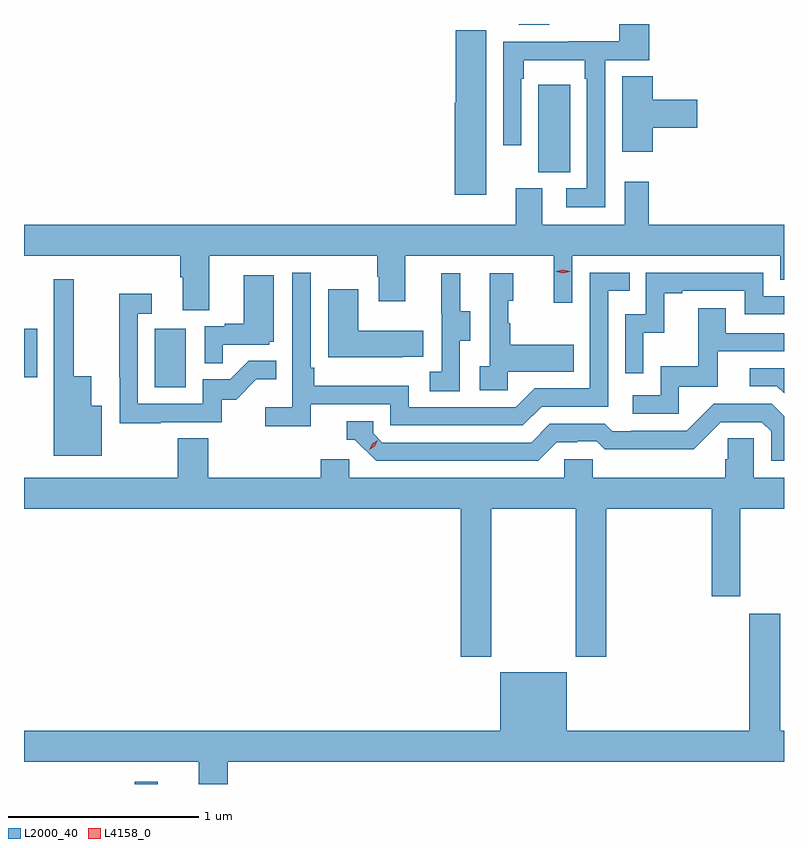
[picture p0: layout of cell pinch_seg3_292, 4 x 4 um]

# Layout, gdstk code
import gdstk
lib = gdstk.Library(unit=1e-6, precision=1e-09)
def R(c, l, rs):  # rectangles x0, y0, x1, y1
    for r in rs: c.add(gdstk.rectangle(r[:2], r[2:], *l))
def P(c, l, *ps):  # polygons
    for p in ps: c.add(gdstk.Polygon(p, *l))
L2000_40 = (2000, 40)
L4158_0 = (4158, 0)

pinch_seg3_292 = lib.new_cell('pinch_seg3_292')
R(pinch_seg3_292, L2000_40, [(1012.367,723.444,1012.489,723.457), (1012.472,725.532,1012.636,725.839), (1011.784,725.585,1011.853,725.839), (1014.491,726.665,1014.658,727.123), (1014.389,727.439,1014.549,727.444)])
P(pinch_seg3_292, L2000_40, [(1014.843,727.254),(1015.076,727.254),(1015.076,727.444),(1014.916,727.444),(1014.916,727.352),(1014.65,727.352),(1014.65,727.35),(1014.306,727.35),(1014.306,726.807),(1014.402,726.807),(1014.402,727.157),(1014.415,727.157),(1014.415,727.253),(1014.735,727.253),(1014.735,727.157),(1014.747,727.157),(1014.747,726.58),(1014.639,726.58),(1014.639,726.479),(1014.843,726.479)],
  [(1014.217,727.411),(1014.056,727.411),(1014.056,727.029),(1014.05,727.029),(1014.05,726.546),(1014.217,726.546)],
  [(1015.094,726.899),(1015.327,726.899),(1015.327,727.046),(1015.094,727.046),(1015.094,727.169),(1014.932,727.169),(1014.932,726.771),(1015.094,726.771)],
  [(1012.759,726.224),(1013.644,726.224),(1013.644,726.113),(1013.651,726.113),(1013.651,725.985),(1013.791,725.985),(1013.791,726.224),(1014.572,726.224),(1014.572,725.976),(1014.669,725.976),(1014.669,726.224),(1015.764,726.224),(1015.764,726.097),(1015.784,726.097),(1015.784,726.388),(1015.073,726.388),(1015.073,726.613),(1014.947,726.613),(1014.947,726.388),(1014.511,726.388),(1014.511,726.58),(1014.371,726.58),(1014.371,726.388),(1011.784,726.388),(1011.784,726.224),(1012.607,726.224),(1012.607,726.112),(1012.619,726.112),(1012.619,725.938),(1012.759,725.938)],
  [(1013.294,725.442),(1013.712,725.442),(1013.712,725.331),(1014.409,725.331),(1014.508,725.43),(1014.858,725.43),(1014.858,726.039),(1014.971,726.039),(1014.971,726.135),(1014.762,726.135),(1014.762,725.526),(1014.471,725.526),(1014.372,725.427),(1013.808,725.427),(1013.808,725.539),(1013.312,725.539),(1013.312,725.635),(1013.292,725.635),(1013.292,726.136),(1013.196,726.136),(1013.196,725.428),(1013.055,725.428),(1013.055,725.326),(1013.294,725.326)],
  [(1015.044,725.819),(1015.154,725.819),(1015.154,726.027),(1015.249,726.027),(1015.249,726.039),(1015.578,726.039),(1015.578,725.916),(1015.784,725.916),(1015.784,726.012),(1015.674,726.012),(1015.674,726.135),(1015.056,726.135),(1015.056,725.916),(1014.948,725.916),(1014.948,725.607),(1015.044,725.607)],
  [(1014.078,725.776),(1014.133,725.776),(1014.133,725.931),(1014.079,725.931),(1014.079,726.133),(1013.981,726.133),(1013.981,725.919),(1013.982,725.919),(1013.982,725.615),(1013.919,725.615),(1013.919,725.512),(1014.078,725.512)],
  [(1014.33,725.615),(1014.677,725.615),(1014.677,725.755),(1014.343,725.755),(1014.343,725.87),(1014.333,725.87),(1014.333,725.988),(1014.358,725.988),(1014.358,726.133),(1014.234,726.133),(1014.234,725.642),(1014.183,725.642),(1014.183,725.517),(1014.33,725.517)],
  [(1012.829,725.757),(1013.076,725.757),(1013.076,725.772),(1013.098,725.772),(1013.098,726.121),(1012.94,726.121),(1012.94,725.866),(1012.841,725.866),(1012.841,725.853),(1012.734,725.853),(1012.734,725.659),(1012.829,725.659)],
  [(1012.192,725.434),(1012.138,725.434),(1012.138,725.59),(1012.045,725.59),(1012.045,726.1),(1011.941,726.1),(1011.941,725.171),(1012.192,725.171)],
  [(1013.777,725.693),(1013.885,725.693),(1013.885,725.83),(1013.542,725.83),(1013.542,726.049),(1013.384,726.049),(1013.384,725.69),(1013.777,725.69)],
  [(1012.505,725.349),(1012.824,725.349),(1012.824,725.466),(1012.9,725.466),(1013.007,725.573),(1013.111,725.573),(1013.111,725.672),(1012.967,725.672),(1012.869,725.574),(1012.725,725.574),(1012.725,725.445),(1012.383,725.445),(1012.383,725.919),(1012.456,725.919),(1012.456,726.025),(1012.285,726.025),(1012.285,725.586),(1012.287,725.586),(1012.287,725.344),(1012.505,725.344)],
  [(1015.23,725.535),(1015.435,725.535),(1015.435,725.721),(1015.784,725.721),(1015.784,725.817),(1015.477,725.817),(1015.477,725.947),(1015.333,725.947),(1015.333,725.644),(1015.134,725.644),(1015.134,725.49),(1014.987,725.49),(1014.987,725.394),(1015.23,725.394)],
  [(1015.784,725.631),(1015.605,725.631),(1015.605,725.538),(1015.746,725.538),(1015.784,725.5)],
  [(1014.589,725.244),(1014.696,725.244),(1014.696,725.247),(1014.799,725.247),(1014.841,725.205),(1015.074,725.205),(1015.074,725.207),(1015.31,725.207),(1015.452,725.349),(1015.668,725.349),(1015.716,725.301),(1015.716,725.145),(1015.784,725.145),(1015.784,725.38),(1015.719,725.445),(1015.413,725.445),(1015.272,725.304),(1014.979,725.304),(1014.979,725.301),(1014.88,725.301),(1014.841,725.34),(1014.552,725.34),(1014.453,725.241),(1013.67,725.241),(1013.622,725.289),(1013.622,725.352),(1013.483,725.352),(1013.483,725.256),(1013.526,725.256),(1013.637,725.145),(1014.49,725.145)],
  [(1014.243,724.892),(1014.688,724.892),(1014.688,724.113),(1014.848,724.113),(1014.848,724.892),(1015.403,724.892),(1015.403,724.431),(1015.555,724.431),(1015.555,724.892),(1015.784,724.892),(1015.784,725.056),(1015.626,725.056),(1015.626,725.264),(1015.489,725.264),(1015.489,725.154),(1015.475,725.154),(1015.475,725.056),(1014.777,725.056),(1014.777,725.154),(1014.627,725.154),(1014.627,725.056),(1013.496,725.056),(1013.496,725.154),(1013.345,725.154),(1013.345,725.056),(1012.754,725.056),(1012.754,725.264),(1012.594,725.264),(1012.594,725.056),(1011.784,725.056),(1011.784,724.892),(1014.083,724.892),(1014.083,724.113),(1014.243,724.113)],
  [(1012.856,723.56),(1015.784,723.56),(1015.784,723.724),(1015.765,723.724),(1015.765,724.339),(1015.601,724.339),(1015.601,723.724),(1014.64,723.724),(1014.64,724.033),(1014.29,724.033),(1014.29,723.724),(1011.784,723.724),(1011.784,723.56),(1012.703,723.56),(1012.703,723.444),(1012.856,723.444)])
P(pinch_seg3_292, L4158_0, [(1014.622,726.131),(1014.586,726.141),(1014.585,726.141),(1014.586,726.142),(1014.622,726.151),(1014.657,726.142),(1014.658,726.141),(1014.657,726.141)],
  [(1013.6,725.202),(1013.6,725.202),(1013.616,725.235),(1013.647,725.254),(1013.647,725.254),(1013.647,725.254),(1013.631,725.221),(1013.6,725.202)])

lib.write_gds('pinch_seg3_292.gds')
